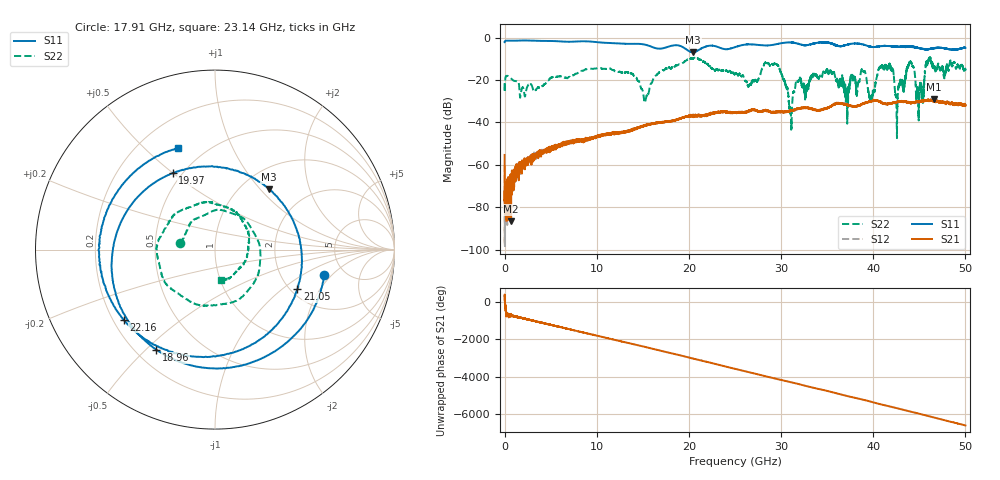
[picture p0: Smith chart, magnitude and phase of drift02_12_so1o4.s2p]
!Created with skrf (http://scikit-rf.org).
# Hz S RI R 50.0
!freq ReS11 ImS11 ReS21 ImS21 ReS12 ImS12 ReS22 ImS22
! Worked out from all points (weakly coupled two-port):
!   10001 points, 300 kHz to 50 GHz, reference 50 ohm
!   highest |S21| = -29.07 dB at 46.63 GHz (marker M1); lowest = -86.6 dB at 705.3 MHz (marker M2)
!   lowest |S11| = -6.9 dB at 20.48 GHz (marker M3), VSWR 2.64, Z = 66 + j55.6 ohm
!   |S11| at or under -10 dB: nowhere
!   |S22| runs from -47.4 to -9.2 dB; largest |S21 - S12| = 0.003
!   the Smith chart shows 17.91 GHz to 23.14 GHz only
!   S11 on the Smith chart (normalised r, x): 17.91 GHz: 3.51, -1.65; 18.96 GHz: 0.28, -0.54; 19.97 GHz: 0.45, +0.50; 21.05 GHz: 2.17, -1.29; 22.16 GHz: 0.24, -0.32; 23.14 GHz: 0.36, +0.64
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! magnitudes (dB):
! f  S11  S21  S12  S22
! 300 kHz  -2.1  -55.3  -60.0  -21.5
! 705.3 MHz  -1.5  -86.6  -64.6  -19.4
! 8.335 GHz  -1.7  -48.1  -48.7  -15.8
! 15.31 GHz  -3.4  -41.1  -41.3  -29.4
! 16.67 GHz  -5.2  -40.3  -40.1  -16.9
! 17.91 GHz  -4.1  -39.4  -39.3  -14.1
! 18.96 GHz  -3.8  -38.3  -38.2  -12.5
! 19.97 GHz  -6.3  -37.1  -36.8  -10.2
! 20.48 GHz  -6.9  -37.5  -36.7  -9.8
! 21.05 GHz  -5.9  -36.7  -36.2  -10.1
! 22.16 GHz  -3.9  -36.2  -36.1  -13.2
! 23.14 GHz  -4.4  -35.2  -35.2  -15.2
! 25 GHz  -4.5  -35.1  -35.4  -17.3
! 29.5 GHz  -3.1  -34.9  -35.0  -12.6
! 31.03 GHz  -2.3  -34.4  -34.7  -36.7
! 33.34 GHz  -3.0  -33.5  -33.6  -17.9
! 39.73 GHz  -4.3  -30.1  -30.0  -29.8
! 41.67 GHz  -4.0  -31.0  -31.2  -13.0
! 42.56 GHz  -4.3  -30.3  -30.4  -42.8
! 43.95 GHz  -4.3  -30.6  -30.5  -11.8
! 46.63 GHz  -4.9  -29.1  -29.4  -13.7
! 50 GHz  -4.8  -32.0  -31.7  -15.1
